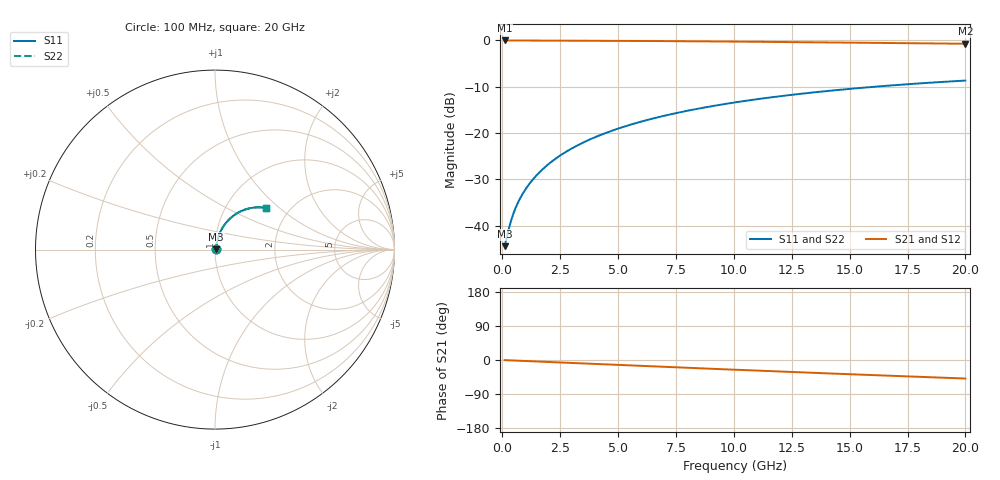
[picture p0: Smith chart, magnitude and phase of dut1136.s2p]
! Touchstone file exported from HFSS 2026.1.0
!  File:  C:/ffzhzh/LocalFiles/Ansys_Project_Files/temp_train_TMRDL_1136_1783161856_55132.aedt
!  Generated:  06:45:35 PM Jul  4, 2026
!  Design:  TMRDL
!  Project:  temp_train_TMRDL_1136_1783161856_55132
! Variables:
!  h_bsmrdl = 2um
!  h_ox = 20um
!  h_rdl = 5um
!  h_sub = 80um
!  h_tmrdl = 2.14um
!  h_tsv = 80um
!  h_via = 3um
!  l_bsmrdl = 300um
!  l_sub = 1163.92um
!  l_tmrdl = 763.92um
!  m_sub = 200um
!  pitch = 42.98um
!  r_tsv = 6um
!  s_tmrdl = 10um
!  w_bsmrdl = 18um
!  w_sub = 500um
!  w_tmrdl = 24.71um
!  x_tsv_center1 = 776.275um
!  x_tsv_center2 = 1094.275um
!  x_tsv_center3 = 1882.905um
!  x_tsv_center4 = 2200.905um
!  x_tsv_center5 = 2989.535um
!  x_tsv_center6 = 3307.535um
# GHz S MA R 50.000000
! Terminal data exported
! Port[1] = TM_RDL1_1_T1
! Port[2] = TM_RDL1_1_T2
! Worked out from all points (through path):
!   200 points, 100 MHz to 20 GHz, reference 50 ohm
!   highest |S21| = -0.05 dB at 100 MHz (marker M1); lowest = -0.8 dB at 20 GHz (marker M2)
!   group delay of S21, straight-line fit = 6.8 ps
!   lowest |S11| = -44.4 dB at 100 MHz (marker M3), VSWR 1.01, Z = 50.5 + j0.264 ohm
!   |S11| at or under -10 dB: start of sweep to 16.14 GHz
!   |S22| runs from -44.4 to -8.7 dB; largest |S21 - S12| = 5.4e-15
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0.1  0.006029 25.7  0.9946 -0.3  0.9946 -0.3  0.006029 25.7
! Gamma 0 0 0 0
! Port Impedance 50 0 50 0
0.3  0.009677 52.2  0.9941 -0.8  0.9941 -0.8  0.009677 52.2
0.4  0.01182 58.0  0.9939 -1.1  0.9939 -1.1  0.01182 58.0
0.5  0.01398 61.8  0.9936 -1.4  0.9936 -1.4  0.01398 61.8
0.6  0.01614 64.5  0.9934 -1.6  0.9934 -1.6  0.01614 64.5
0.7  0.01828 66.5  0.9931 -1.9  0.9931 -1.9  0.01828 66.5
0.9  0.02255 69.4  0.9928 -2.4  0.9928 -2.4  0.02255 69.4
1.2  0.02896 72.2  0.9923 -3.2  0.9923 -3.2  0.02896 72.2
1.4  0.03327 73.4  0.992 -3.7  0.992 -3.7  0.03327 73.4
1.7  0.03976 74.5  0.9917 -4.5  0.9917 -4.5  0.03976 74.5
2.2  0.05067 75.4  0.991 -5.8  0.991 -5.8  0.05066 75.4
2.8  0.0638 75.6  0.9901 -7.3  0.9901 -7.3  0.0638 75.6
3.5  0.0791 75.0  0.9888 -9.1  0.9888 -9.1  0.0791 75.0
4.2  0.09432 74.0  0.9873 -10.9  0.9873 -10.9  0.09432 74.1
5  0.1116 72.7  0.9853 -13.0  0.9853 -13.0  0.1116 72.7
5.9  0.1307 70.9  0.9827 -15.3  0.9827 -15.3  0.1307 70.9
6.8  0.1494 69.0  0.9798 -17.6  0.9798 -17.6  0.1494 69.0
8.3  0.1799 65.6  0.9742 -21.3  0.9742 -21.3  0.1799 65.7
10.1  0.2147 61.5  0.9665 -25.8  0.9665 -25.8  0.2147 61.5
13.4  0.2733 53.8  0.9506 -33.8  0.9506 -33.8  0.2733 53.9
16.7  0.3244 46.4  0.9336 -41.5  0.9336 -41.5  0.3243 46.5
20  0.3677 39.1  0.9169 -48.9  0.9169 -48.9  0.3677 39.2
